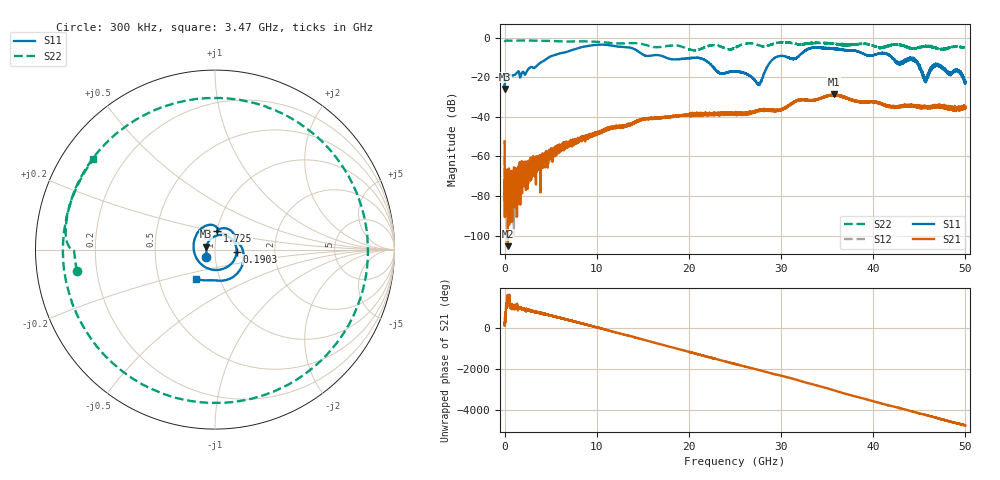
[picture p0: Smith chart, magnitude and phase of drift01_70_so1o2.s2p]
!Created with skrf (http://scikit-rf.org).
# Hz S RI R 50.0
!freq ReS11 ImS11 ReS21 ImS21 ReS12 ImS12 ReS22 ImS22
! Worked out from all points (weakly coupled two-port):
!   10001 points, 300 kHz to 50 GHz, reference 50 ohm
!   highest |S21| = -28.64 dB at 35.71 GHz (marker M1); lowest = -105.4 dB at 350.3 MHz (marker M2)
!   lowest |S11| = -25.8 dB at 5.3 MHz (marker M3), VSWR 1.11, Z = 45.3 + j1.43 ohm
!   |S11| at or under -10 dB: start of sweep to 4.765 GHz; 17.53 GHz to 29.37 GHz (11.84 GHz wide, 50.5 % of centre); 43.99 GHz to end of sweep (the widest 3 of 10)
!   |S22| runs from -6.3 to -1.4 dB; largest |S21 - S12| = 0.0038
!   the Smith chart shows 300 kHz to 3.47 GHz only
!   S11 on the Smith chart (normalised r, x): 300 kHz: 0.91, -0.07; 190.3 MHz: 1.27, -0.03; 1.725 GHz: 1.00, +0.21; 3.47 GHz: 0.77, -0.26
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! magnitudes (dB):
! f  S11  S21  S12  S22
! 300 kHz  -24.1  -52.3  -59.7  -2.2
! 5.3 MHz  -25.8  -71.9  -72.7  -2.1
! 190.3 MHz  -18.3  -74.0  -75.0  -1.4
! 350.3 MHz  -18.4  -105.4  -70.5  -1.4
! 1.725 GHz  -19.8  -66.3  -67.1  -1.4
! 3.47 GHz  -14.3  -62.2  -62.8  -1.5
! 8.335 GHz  -4.8  -50.1  -50.6  -1.8
! 16.67 GHz  -8.8  -40.7  -40.6  -4.8
! 21.21 GHz  -10.3  -39.0  -38.5  -5.8
! 25 GHz  -17.0  -38.0  -38.5  -5.0
! 27.59 GHz  -23.4  -36.7  -36.7  -3.7
! 29.3 GHz  -10.2  -36.8  -36.8  -2.9
! 31.48 GHz  -10.6  -32.2  -32.3  -2.9
! 33.34 GHz  -5.1  -31.5  -31.5  -2.7
! 35.71 GHz  -5.6  -28.6  -28.7  -3.1
! 41.67 GHz  -8.6  -34.6  -34.6  -4.0
! 42.81 GHz  -12.7  -34.9  -34.8  -3.4
! 44.5 GHz  -11.3  -34.6  -34.6  -5.2
! 45.63 GHz  -20.7  -35.3  -35.1  -4.3
! 46.95 GHz  -13.1  -34.0  -34.5  -5.4
! 49.26 GHz  -16.7  -35.9  -36.1  -4.5
! 50 GHz  -22.3  -35.2  -34.6  -5.3
